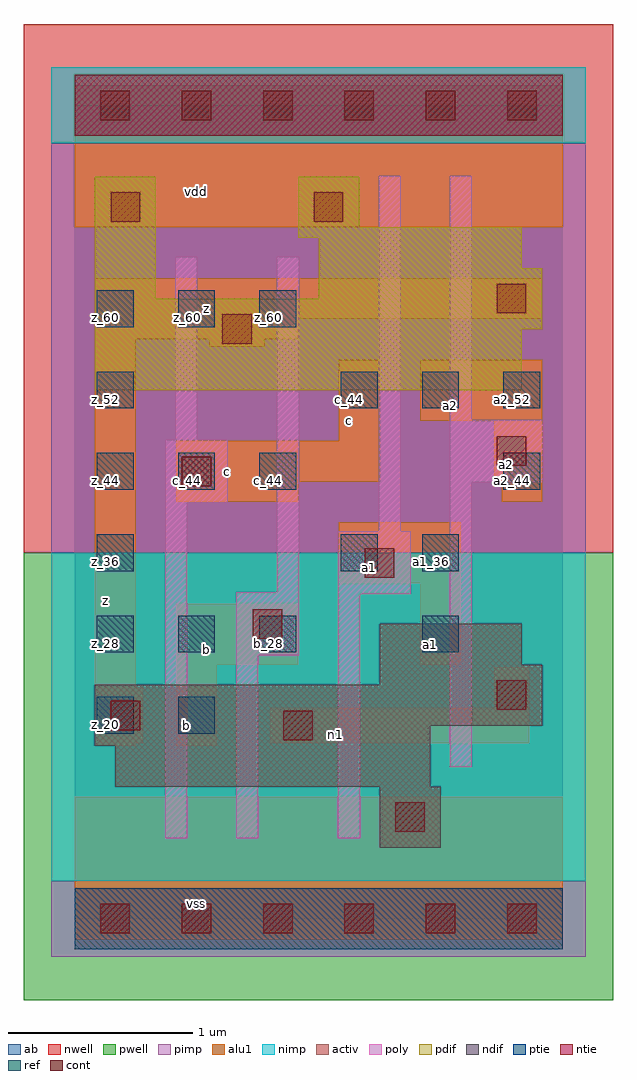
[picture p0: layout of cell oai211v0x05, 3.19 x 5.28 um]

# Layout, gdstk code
import gdstk
lib = gdstk.Library(unit=1e-6, precision=2.5e-09)
def R(c, l, rs):  # rectangles x0, y0, x1, y1
    for r in rs: c.add(gdstk.rectangle(r[:2], r[2:], *l))
def A(c, l, x, y, w, h, nx, ny, dx, dy):  # array of equal rectangles
    R(c, l, [(x+i*dx, y+j*dy, x+i*dx+w, y+j*dy+h) for i in range(nx) for j in range(ny)])
ndif = (3, 0)
pdif = (4, 0)
ntie = (5, 0)
ptie = (6, 0)
ref = (24, 0)
cont = (25, 0)
pwell = (41, 0)
nwell = (42, 0)
activ = (43, 0)
pimp = (44, 0)
nimp = (45, 0)
poly = (46, 0)
alu1 = (49, 0)
ab = (63, 0)

oai211v0x05 = lib.new_cell('oai211v0x05')
R(oai211v0x05, ndif, [(1.65,0.385,1.98,0.715), (0.22,0.715,1.925,0.935), (0.11,0.935,1.925,1.045), (0.11,1.045,2.53,1.265), (1.65,1.265,2.53,1.375), (1.65,1.375,2.42,1.595)])
R(oai211v0x05, pdif, [(0.11,2.86,2.42,3.19), (0.11,3.19,2.53,3.355), (0.11,3.355,0.44,4.015), (1.32,3.355,2.53,3.52), (1.32,3.52,2.42,3.685), (1.21,3.685,2.42,3.74), (1.21,3.74,1.54,4.015)])
R(oai211v0x05, ntie, [(0,4.235,2.64,4.565)])
R(oai211v0x05, ptie, [(0,-0.165,2.64,0.165)])
A(oai211v0x05, ref, 0.12, 1, 0.2, 0.2, 1, 3, 0, 0.88)
A(oai211v0x05, ref, 0.12, 1.44, 0.2, 0.2, 3, 3, 0.44, 0.88)
A(oai211v0x05, ref, 1.44, 2.76, 0.2, 0.2, 3, 1, 0.44, 0)
R(oai211v0x05, ref, [(0.56,1,0.76,1.2), (1.88,1.44,2.08,1.64), (1.44,1.88,1.64,2.08), (1.88,1.88,2.08,2.08), (2.32,2.32,2.52,2.52)])
A(oai211v0x05, cont, 0.14, -0.08, 0.16, 0.16, 6, 2, 0.44, 4.4)
R(oai211v0x05, cont, [(1.735,0.47,1.895,0.63), (1.13,0.965,1.29,1.125), (0.195,1.02,0.355,1.18), (2.285,1.13,2.445,1.29), (0.965,1.515,1.125,1.675), (1.57,1.845,1.73,2.005), (0.58,2.34,0.74,2.5), (2.285,2.45,2.445,2.61), (0.8,3.11,0.96,3.27), (2.285,3.275,2.445,3.435), (0.195,3.77,0.355,3.93), (1.295,3.77,1.455,3.93)])
R(oai211v0x05, pwell, [(-0.275,-0.44,2.915,1.98)])
R(oai211v0x05, nwell, [(-0.275,1.98,2.915,4.84)])
R(oai211v0x05, activ, [(0,-0.165,2.64,0.165), (1.65,0.385,1.98,0.715), (0.22,0.715,1.925,0.935), (0.11,0.935,1.925,1.045), (0.11,1.045,2.53,1.265), (1.65,1.265,2.53,1.375), (1.65,1.375,2.42,1.595), (0.11,2.86,2.42,3.19), (0.11,3.19,2.53,3.355), (0.11,3.355,0.44,4.015), (1.32,3.355,2.53,3.52), (1.32,3.52,2.42,3.685), (1.21,3.685,2.42,3.74), (1.21,3.74,1.54,4.015), (0,4.235,2.64,4.565)])
R(oai211v0x05, pimp, [(-0.125,-0.205,2.765,0.205), (-0.125,1.98,2.765,4.195)])
R(oai211v0x05, nimp, [(-0.125,0.205,2.765,1.98), (-0.125,4.195,2.765,4.605)])
R(oai211v0x05, poly, [(0.49,0.435,0.61,2.25), (0.875,0.435,0.995,1.425), (1.425,0.435,1.545,1.755), (2.03,0.82,2.15,2.36), (0.875,1.425,1.215,1.765), (1.425,1.755,1.82,2.095), (1.095,1.765,1.215,3.58), (1.645,2.095,1.765,4.02), (0.49,2.25,0.83,2.59), (2.03,2.36,2.535,2.7), (0.545,2.59,0.665,3.58), (2.03,2.7,2.15,4.02)])
R(oai211v0x05, alu1, [(0,-0.11,2.64,0.66), (0.11,0.935,0.33,0.95), (0.55,0.935,0.77,1.375), (0.11,0.95,0.37,1.25), (1.06,0.95,2.46,1.14), (2.27,1.14,2.46,1.36), (0.11,1.25,0.33,3.135), (0.55,1.375,1.21,1.705), (1.87,1.375,2.09,1.815), (1.43,1.815,2.09,2.145), (0.55,2.255,1.21,2.365), (2.31,2.255,2.53,2.38), (0.55,2.365,1.65,2.585), (2.27,2.38,2.53,2.695), (1.43,2.585,1.65,3.025), (1.87,2.695,2.53,3.025), (0.73,3.095,1.03,3.135), (0.11,3.135,1.21,3.245), (0.11,3.245,2.53,3.465), (0,3.74,2.64,4.51)])
R(oai211v0x05, ab, [(0,0,2.64,4.4)])
oai211v0x05.add(gdstk.Label('vss', (0.66,0.0825), layer=49, texttype=0))
oai211v0x05.add(gdstk.Label('n1', (1.41,0.9975), layer=49, texttype=0))
oai211v0x05.add(gdstk.Label('b', (0.605,1.045), layer=49, texttype=0))
oai211v0x05.add(gdstk.Label('a1', (1.925,1.485), layer=49, texttype=0))
oai211v0x05.add(gdstk.Label('b', (0.715,1.4575), layer=49, texttype=0))
oai211v0x05.add(gdstk.Label('a1', (1.595,1.8975), layer=49, texttype=0))
oai211v0x05.add(gdstk.Label('a2', (2.335,2.4575), layer=49, texttype=0))
oai211v0x05.add(gdstk.Label('c', (0.825,2.42), layer=49, texttype=0))
oai211v0x05.add(gdstk.Label('a2', (2.035,2.7775), layer=49, texttype=0))
oai211v0x05.add(gdstk.Label('c', (1.485,2.695), layer=49, texttype=0))
oai211v0x05.add(gdstk.Label('z', (0.165,1.72), layer=49, texttype=0))
oai211v0x05.add(gdstk.Label('z', (0.715,3.3), layer=49, texttype=0))
oai211v0x05.add(gdstk.Label('vdd', (0.66,3.9325), layer=49, texttype=0))
oai211v0x05.add(gdstk.Label('b_20', (0.61,1.05), layer=24, texttype=0))
oai211v0x05.add(gdstk.Label('b_28', (0.61,1.49), layer=24, texttype=0))
oai211v0x05.add(gdstk.Label('c_44', (0.61,2.37), layer=24, texttype=0))
oai211v0x05.add(gdstk.Label('z_60', (0.61,3.25), layer=24, texttype=0))
oai211v0x05.add(gdstk.Label('b_28', (1.05,1.49), layer=24, texttype=0))
oai211v0x05.add(gdstk.Label('c_44', (1.05,2.37), layer=24, texttype=0))
oai211v0x05.add(gdstk.Label('z_60', (1.05,3.25), layer=24, texttype=0))
oai211v0x05.add(gdstk.Label('a1_36', (1.49,1.93), layer=24, texttype=0))
oai211v0x05.add(gdstk.Label('c_44', (1.49,2.81), layer=24, texttype=0))
oai211v0x05.add(gdstk.Label('a1_28', (1.93,1.49), layer=24, texttype=0))
oai211v0x05.add(gdstk.Label('a1_36', (1.93,1.93), layer=24, texttype=0))
oai211v0x05.add(gdstk.Label('a2_52', (1.93,2.81), layer=24, texttype=0))
oai211v0x05.add(gdstk.Label('z_20', (0.17,1.05), layer=24, texttype=0))
oai211v0x05.add(gdstk.Label('z_28', (0.17,1.49), layer=24, texttype=0))
oai211v0x05.add(gdstk.Label('z_36', (0.17,1.93), layer=24, texttype=0))
oai211v0x05.add(gdstk.Label('z_44', (0.17,2.37), layer=24, texttype=0))
oai211v0x05.add(gdstk.Label('z_52', (0.17,2.81), layer=24, texttype=0))
oai211v0x05.add(gdstk.Label('z_60', (0.17,3.25), layer=24, texttype=0))
oai211v0x05.add(gdstk.Label('a2_44', (2.37,2.37), layer=24, texttype=0))
oai211v0x05.add(gdstk.Label('a2_52', (2.37,2.81), layer=24, texttype=0))

lib.write_gds('oai211v0x05.gds')
